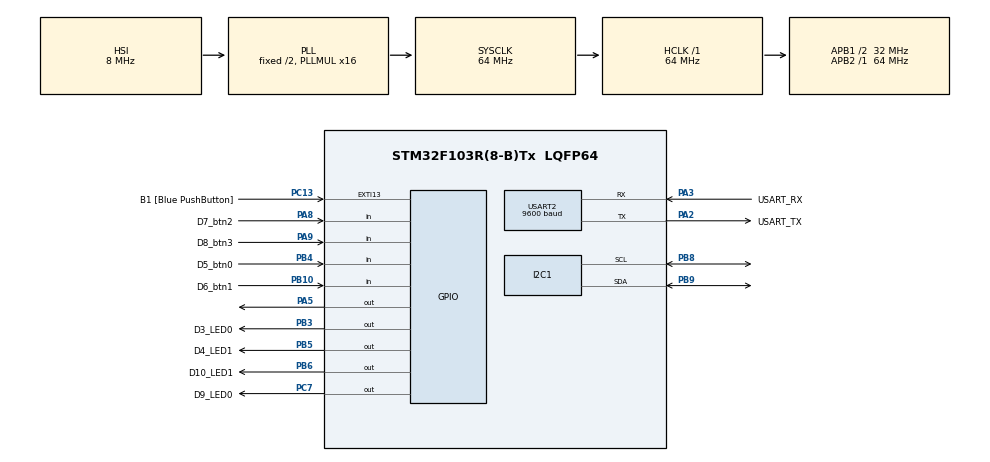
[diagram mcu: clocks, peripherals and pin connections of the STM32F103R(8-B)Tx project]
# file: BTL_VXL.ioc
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Mcu.Family=STM32F1
Mcu.Name=STM32F103R(8-B)Tx
Mcu.Package=LQFP64
NVIC.EXTI15_10_IRQn=true\:0\:0\:false\:false\:true\:true\:true
NVIC.PriorityGroup=NVIC_PRIORITYGROUP_4
NVIC.TIM2_IRQn=true\:0\:0\:false\:false\:true\:true\:true
PA13.GPIO_Label=TMS
PA13.Mode=Serial_Wire
PA13.Signal=SYS_JTMS-SWDIO
PA14.GPIO_Label=TCK
PA14.Mode=Serial_Wire
PA14.Signal=SYS_JTCK-SWCLK
PA2.GPIO_Label=USART_TX
PA2.GPIO_Mode=GPIO_MODE_AF_PP
PA2.GPIO_PuPd=GPIO_NOPULL
PA2.GPIO_Speed=GPIO_SPEED_FREQ_LOW
PA2.Mode=Asynchronous
PA2.Signal=USART2_TX
PA3.GPIO_Label=USART_RX
PA3.GPIO_Mode=GPIO_MODE_AF_PP
PA3.GPIO_PuPd=GPIO_NOPULL
PA3.GPIO_Speed=GPIO_SPEED_FREQ_LOW
PA3.Mode=Asynchronous
PA3.Signal=USART2_RX
PA5.Signal=GPIO_Output
PA8.GPIO_Label=D7_btn2
PA8.Signal=GPIO_Input
PA9.GPIO_Label=D8_btn3
PA9.Signal=GPIO_Input
PB10.GPIO_Label=D6_btn1
PB10.Signal=GPIO_Input
PB3.GPIO_Label=D3_LED0
PB3.Signal=GPIO_Output
PB4.GPIO_Label=D5_btn0
PB4.Signal=GPIO_Input
PB5.GPIO_Label=D4_LED1
PB5.Signal=GPIO_Output
PB6.GPIO_Label=D10_LED1
PB6.Signal=GPIO_Output
PB8.Mode=I2C
PB8.Signal=I2C1_SCL
PB9.Mode=I2C
PB9.Signal=I2C1_SDA
PC13-TAMPER-RTC.GPIO_Label=B1 [Blue PushButton]
PC13-TAMPER-RTC.GPIO_PuPd=GPIO_NOPULL
PC13-TAMPER-RTC.Signal=GPXTI13
PC14-OSC32_IN.Mode=LSE-External-Oscillator
PC14-OSC32_IN.Signal=RCC_OSC32_IN
PC15-OSC32_OUT.Mode=LSE-External-Oscillator
PC15-OSC32_OUT.Signal=RCC_OSC32_OUT
PC7.GPIO_Label=D9_LED0
PC7.Signal=GPIO_Output
PD0-OSC_IN.Mode=HSE-External-Clock-Source
PD0-OSC_IN.Signal=RCC_OSC_IN
PD1-OSC_OUT.Mode=HSE-External-Clock-Source
PD1-OSC_OUT.Signal=RCC_OSC_OUT
ProjectManager.HeapSize=0x200
ProjectManager.StackSize=0x400
ProjectManager.TargetToolchain=STM32CubeIDE
RCC.AHBFreq_Value=64000000
RCC.APB1CLKDivider=RCC_HCLK_DIV2
RCC.APB1Freq_Value=32000000
RCC.APB1TimFreq_Value=64000000
RCC.APB2Freq_Value=64000000
RCC.APB2TimFreq_Value=64000000
RCC.HCLKFreq_Value=64000000
RCC.PLLMUL=RCC_PLL_MUL16
RCC.RTCClockSelection=RCC_RTCCLKSOURCE_LSE
RCC.SYSCLKFreq_VALUE=64000000
RCC.SYSCLKSource=RCC_SYSCLKSOURCE_PLLCLK
RCC.USBFreq_Value=64000000
TIM2.Period=9
TIM2.Prescaler=7999
USART2.BaudRate=9600
USART2.VirtualMode=VM_ASYNC
VP_TIM2_VS_ClockSourceINT.Mode=Internal
board=NUCLEO-F103RB

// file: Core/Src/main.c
/* USER CODE BEGIN Header */
/**
  ******************************************************************************
  * @file           : main.c
  * @brief          : Main program body
  ******************************************************************************
  * @attention
  *
  * <h2><center>&copy; Copyright (c) 2024 STMicroelectronics.
  * All rights reserved.</center></h2>
  *
  * This software component is licensed by ST under BSD 3-Clause license,
  * the "License"; You may not use this file except in compliance with the
  * License. You may obtain a copy of the License at:
  *                        opensource.org/licenses/BSD-3-Clause
  *
  ******************************************************************************
  */
/* USER CODE END Header */
#include "main.h"

/* USER CODE BEGIN Includes */
#include "scheduler.h"
#include "button.h"
#include "string.h"
#include "global.h"
#include "display7seg.h"
#include "i2c_lcd.h"
#include "dht20.h"
/* USER CODE END Includes */

I2C_HandleTypeDef hi2c1;

TIM_HandleTypeDef htim2;

UART_HandleTypeDef huart2;

void SystemClock_Config(void);
static void MX_GPIO_Init(void);
static void MX_USART2_UART_Init(void);
static void MX_I2C1_Init(void);
static void MX_TIM2_Init(void);

/* USER CODE BEGIN 0 */
extern float RH;   // Relative Humidity
extern float Temp; // Temperature

void getSend()
{
    Status_Trigger_DHT20 check_sensor = trigger_measurement_data_dht20();
    char buffer[50]; // Buffer to store the formatted strings

    if (check_sensor == DHT20_OK)
    {
        // Display and send the relative humidity
        snprintf(buffer, sizeof(buffer), "Humidity: %.1f%%\r\n", RH);
        HAL_UART_Transmit(&huart2, (uint8_t *)buffer, strlen(buffer), HAL_MAX_DELAY);

        // Display and send the temperature
        snprintf(buffer, sizeof(buffer), "Temperature: %.1f°C\r\n", Temp);
        HAL_UART_Transmit(&huart2, (uint8_t *)buffer, strlen(buffer), HAL_MAX_DELAY);
    }
    else if (check_sensor == DHT20_BUSY)
    {
        // If the sensor is busy, notify the user
        snprintf(buffer, sizeof(buffer), "Humidity: --BUSY--\r\n");
        HAL_UART_Transmit(&huart2, (uint8_t *)buffer, strlen(buffer), HAL_MAX_DELAY);

        snprintf(buffer, sizeof(buffer), "Temperature: --BUSY--\r\n");
        HAL_UART_Transmit(&huart2, (uint8_t *)buffer, strlen(buffer), HAL_MAX_DELAY);
    }
    else
    {
        // If the sensor fails, notify the user
        snprintf(buffer, sizeof(buffer), "Humidity: --ERROR--\r\n");
        HAL_UART_Transmit(&huart2, (uint8_t *)buffer, strlen(buffer), HAL_MAX_DELAY);

        snprintf(buffer, sizeof(buffer), "Temperature: --ERROR--\r\n");
        HAL_UART_Transmit(&huart2, (uint8_t *)buffer, strlen(buffer), HAL_MAX_DELAY);
    }
}
/* USER CODE END 0 */

int main(void)
{

  /* MCU Configuration--------------------------------------------------------*/

  /* Reset of all peripherals, Initializes the Flash interface and the Systick. */
  HAL_Init();

  /* Configure the system clock */
  SystemClock_Config();

  /* Initialize all configured peripherals */
  MX_GPIO_Init();
  MX_USART2_UART_Init();
  MX_I2C1_Init();
  MX_TIM2_Init();
  /* USER CODE BEGIN 2 */
  HAL_TIM_Base_Start_IT(&htim2);
  schedulerInit();
  lcd_init();
  schedulerAddTask(getSend, 50, 1000);
  schedulerAddTask(fsm_manual, 50, 1);      // 50 * 10 ms = 500 ms period
  schedulerAddTask(fsm_setting, 50, 1);     // 1 second period task
  schedulerAddTask(fsm_automatic, 50, 1);   // 1.5 second period task

  //schedulerDispatcher();
  /* USER CODE END 2 */

  /* Infinite loop */
  /* USER CODE BEGIN WHILE */
//  char buffer[16];
//  lcd_clear_display();
//  lcd_goto_XY(1, 1);
//  sprintf(buffer, "TrafficY: 0%d", 10);
  while (1)
  {
    /* USER CODE END WHILE */
	  //getSend();
	  schedulerDispatcher();
  }
}

void SystemClock_Config(void)
{
  RCC_OscInitTypeDef RCC_OscInitStruct = {0};
  RCC_ClkInitTypeDef RCC_ClkInitStruct = {0};

  /** Initializes the RCC Oscillators according to the specified parameters
  * in the RCC_OscInitTypeDef structure.
  */
  RCC_OscInitStruct.OscillatorType = RCC_OSCILLATORTYPE_HSI;
  RCC_OscInitStruct.HSIState = RCC_HSI_ON;
  RCC_OscInitStruct.HSICalibrationValue = RCC_HSICALIBRATION_DEFAULT;
  RCC_OscInitStruct.PLL.PLLState = RCC_PLL_ON;
  RCC_OscInitStruct.PLL.PLLSource = RCC_PLLSOURCE_HSI_DIV2;
  RCC_OscInitStruct.PLL.PLLMUL = RCC_PLL_MUL16;
  if (HAL_RCC_OscConfig(&RCC_OscInitStruct) != HAL_OK)
  {
    Error_Handler();
  }
  /** Initializes the CPU, AHB and APB buses clocks
  */
  RCC_ClkInitStruct.ClockType = RCC_CLOCKTYPE_HCLK|RCC_CLOCKTYPE_SYSCLK
                              |RCC_CLOCKTYPE_PCLK1|RCC_CLOCKTYPE_PCLK2;
  RCC_ClkInitStruct.SYSCLKSource = RCC_SYSCLKSOURCE_PLLCLK;
  RCC_ClkInitStruct.AHBCLKDivider = RCC_SYSCLK_DIV1;
  RCC_ClkInitStruct.APB1CLKDivider = RCC_HCLK_DIV2;
  RCC_ClkInitStruct.APB2CLKDivider = RCC_HCLK_DIV1;

  if (HAL_RCC_ClockConfig(&RCC_ClkInitStruct, FLASH_LATENCY_2) != HAL_OK)
  {
    Error_Handler();
  }
}

static void MX_I2C1_Init(void)
{

  hi2c1.Instance = I2C1;
  hi2c1.Init.ClockSpeed = 100000;
  hi2c1.Init.DutyCycle = I2C_DUTYCYCLE_2;
  hi2c1.Init.OwnAddress1 = 0;
  hi2c1.Init.AddressingMode = I2C_ADDRESSINGMODE_7BIT;
  hi2c1.Init.DualAddressMode = I2C_DUALADDRESS_DISABLE;
  hi2c1.Init.OwnAddress2 = 0;
  hi2c1.Init.GeneralCallMode = I2C_GENERALCALL_DISABLE;
  hi2c1.Init.NoStretchMode = I2C_NOSTRETCH_DISABLE;
  if (HAL_I2C_Init(&hi2c1) != HAL_OK)
  {
    Error_Handler();
  }

}

static void MX_TIM2_Init(void)
{

  TIM_ClockConfigTypeDef sClockSourceConfig = {0};
  TIM_MasterConfigTypeDef sMasterConfig = {0};

  htim2.Instance = TIM2;
  htim2.Init.Prescaler = 7999;
  htim2.Init.CounterMode = TIM_COUNTERMODE_UP;
  htim2.Init.Period = 9;
  htim2.Init.ClockDivision = TIM_CLOCKDIVISION_DIV1;
  htim2.Init.AutoReloadPreload = TIM_AUTORELOAD_PRELOAD_DISABLE;
  if (HAL_TIM_Base_Init(&htim2) != HAL_OK)
  {
    Error_Handler();
  }
  sClockSourceConfig.ClockSource = TIM_CLOCKSOURCE_INTERNAL;
  if (HAL_TIM_ConfigClockSource(&htim2, &sClockSourceConfig) != HAL_OK)
  {
    Error_Handler();
  }
  sMasterConfig.MasterOutputTrigger = TIM_TRGO_RESET;
  sMasterConfig.MasterSlaveMode = TIM_MASTERSLAVEMODE_DISABLE;
  if (HAL_TIMEx_MasterConfigSynchronization(&htim2, &sMasterConfig) != HAL_OK)
  {
    Error_Handler();
  }

}

static void MX_USART2_UART_Init(void)
{

  huart2.Instance = USART2;
  huart2.Init.BaudRate = 9600;
  huart2.Init.WordLength = UART_WORDLENGTH_8B;
  huart2.Init.StopBits = UART_STOPBITS_1;
  huart2.Init.Parity = UART_PARITY_NONE;
  huart2.Init.Mode = UART_MODE_TX_RX;
  huart2.Init.HwFlowCtl = UART_HWCONTROL_NONE;
  huart2.Init.OverSampling = UART_OVERSAMPLING_16;
  if (HAL_UART_Init(&huart2) != HAL_OK)
  {
    Error_Handler();
  }

}

static void MX_GPIO_Init(void)
{
  GPIO_InitTypeDef GPIO_InitStruct = {0};

  /* GPIO Ports Clock Enable */
  __HAL_RCC_GPIOC_CLK_ENABLE();
  __HAL_RCC_GPIOD_CLK_ENABLE();
  __HAL_RCC_GPIOA_CLK_ENABLE();
  __HAL_RCC_GPIOB_CLK_ENABLE();

  /*Configure GPIO pin Output Level */
  HAL_GPIO_WritePin(GPIOA, GPIO_PIN_5, GPIO_PIN_RESET);

  /*Configure GPIO pin Output Level */
  HAL_GPIO_WritePin(D9_LED0_GPIO_Port, D9_LED0_Pin, GPIO_PIN_RESET);

  /*Configure GPIO pin Output Level */
  HAL_GPIO_WritePin(GPIOB, D3_LED0_Pin|D4_LED1_Pin|D10_LED1_Pin, GPIO_PIN_RESET);

  /*Configure GPIO pin : B1_Pin */
  GPIO_InitStruct.Pin = B1_Pin;
  GPIO_InitStruct.Mode = GPIO_MODE_IT_RISING;
  GPIO_InitStruct.Pull = GPIO_NOPULL;
  HAL_GPIO_Init(B1_GPIO_Port, &GPIO_InitStruct);

  /*Configure GPIO pin : PA5 */
  GPIO_InitStruct.Pin = GPIO_PIN_5;
  GPIO_InitStruct.Mode = GPIO_MODE_OUTPUT_PP;
  GPIO_InitStruct.Pull = GPIO_NOPULL;
  GPIO_InitStruct.Speed = GPIO_SPEED_FREQ_LOW;
  HAL_GPIO_Init(GPIOA, &GPIO_InitStruct);

  /*Configure GPIO pins : D6_btn1_Pin D5_btn0_Pin */
  GPIO_InitStruct.Pin = D6_btn1_Pin|D5_btn0_Pin;
  GPIO_InitStruct.Mode = GPIO_MODE_INPUT;
  GPIO_InitStruct.Pull = GPIO_NOPULL;
  HAL_GPIO_Init(GPIOB, &GPIO_InitStruct);

  /*Configure GPIO pin : D9_LED0_Pin */
  GPIO_InitStruct.Pin = D9_LED0_Pin;
  GPIO_InitStruct.Mode = GPIO_MODE_OUTPUT_PP;
  GPIO_InitStruct.Pull = GPIO_NOPULL;
  GPIO_InitStruct.Speed = GPIO_SPEED_FREQ_LOW;
  HAL_GPIO_Init(D9_LED0_GPIO_Port, &GPIO_InitStruct);

  /*Configure GPIO pins : D7_btn2_Pin D8_btn3_Pin */
  GPIO_InitStruct.Pin = D7_btn2_Pin|D8_btn3_Pin;
  GPIO_InitStruct.Mode = GPIO_MODE_INPUT;
  GPIO_InitStruct.Pull = GPIO_NOPULL;
  HAL_GPIO_Init(GPIOA, &GPIO_InitStruct);

  /*Configure GPIO pins : D3_LED0_Pin D4_LED1_Pin D10_LED1_Pin */
  GPIO_InitStruct.Pin = D3_LED0_Pin|D4_LED1_Pin|D10_LED1_Pin;
  GPIO_InitStruct.Mode = GPIO_MODE_OUTPUT_PP;
  GPIO_InitStruct.Pull = GPIO_NOPULL;
  GPIO_InitStruct.Speed = GPIO_SPEED_FREQ_LOW;
  HAL_GPIO_Init(GPIOB, &GPIO_InitStruct);

  /* EXTI interrupt init*/
  HAL_NVIC_SetPriority(EXTI15_10_IRQn, 0, 0);
  HAL_NVIC_EnableIRQ(EXTI15_10_IRQn);

}

/* USER CODE BEGIN 4 */
void HAL_TIM_PeriodElapsedCallback(TIM_HandleTypeDef *htim){
	timerRun();
	schedulerUpdate();
	getKeyInput();
}
/* USER CODE END 4 */

void Error_Handler(void)
{
  __disable_irq();
  while (1)
  {
  }
}

/************************ (C) COPYRIGHT STMicroelectronics *****END OF FILE****/
